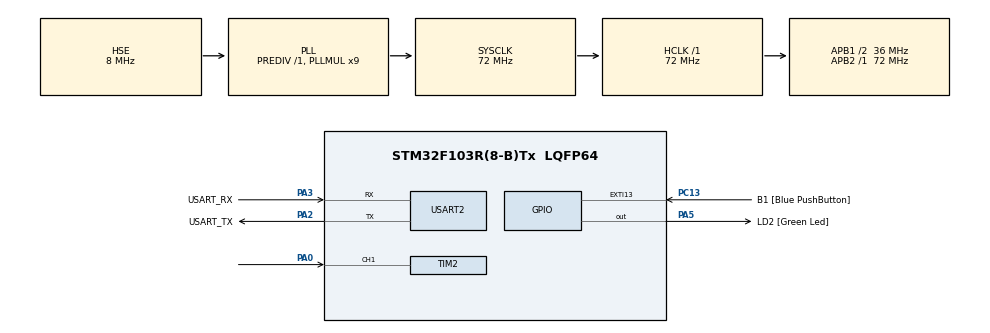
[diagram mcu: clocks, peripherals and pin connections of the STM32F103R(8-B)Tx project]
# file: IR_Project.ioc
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Mcu.Family=STM32F1
Mcu.Name=STM32F103R(8-B)Tx
Mcu.Package=LQFP64
NVIC.EXTI15_10_IRQn=true\:0\:0\:false\:false\:true\:true\:true\:true
NVIC.PriorityGroup=NVIC_PRIORITYGROUP_4
NVIC.TIM2_IRQn=true\:0\:0\:false\:false\:true\:true\:true\:true
PA0-WKUP.GPIO_PuPd=GPIO_PULLUP
PA0-WKUP.Signal=S_TIM2_CH1_ETR
PA13.GPIO_Label=TMS
PA13.Mode=Serial_Wire
PA13.Signal=SYS_JTMS-SWDIO
PA14.GPIO_Label=TCK
PA14.Mode=Serial_Wire
PA14.Signal=SYS_JTCK-SWCLK
PA2.GPIO_Label=USART_TX
PA2.GPIO_Mode=GPIO_MODE_AF_PP
PA2.GPIO_PuPd=GPIO_NOPULL
PA2.GPIO_Speed=GPIO_SPEED_FREQ_LOW
PA2.Mode=Asynchronous
PA2.Signal=USART2_TX
PA3.GPIO_Label=USART_RX
PA3.GPIO_Mode=GPIO_MODE_AF_PP
PA3.GPIO_PuPd=GPIO_NOPULL
PA3.GPIO_Speed=GPIO_SPEED_FREQ_LOW
PA3.Mode=Asynchronous
PA3.Signal=USART2_RX
PA5.GPIO_Label=LD2 [Green Led]
PA5.GPIO_ModeDefaultOutputPP=GPIO_MODE_OUTPUT_PP
PA5.GPIO_PuPd=GPIO_NOPULL
PA5.GPIO_Speed=GPIO_SPEED_FREQ_LOW
PA5.Signal=GPIO_Output
PB3.GPIO_Label=SWO
PB3.Signal=SYS_JTDO-TRACESWO
PC13-TAMPER-RTC.GPIO_Label=B1 [Blue PushButton]
PC13-TAMPER-RTC.GPIO_PuPd=GPIO_NOPULL
PC13-TAMPER-RTC.Signal=GPXTI13
PC14-OSC32_IN.Mode=LSE-External-Oscillator
PC14-OSC32_IN.Signal=RCC_OSC32_IN
PC15-OSC32_OUT.Mode=LSE-External-Oscillator
PC15-OSC32_OUT.Signal=RCC_OSC32_OUT
PD0-OSC_IN.Mode=HSE-External-Clock-Source
PD0-OSC_IN.Signal=RCC_OSC_IN
PD1-OSC_OUT.Mode=HSE-External-Clock-Source
PD1-OSC_OUT.Signal=RCC_OSC_OUT
ProjectManager.HeapSize=0x200
ProjectManager.StackSize=0x400
ProjectManager.TargetToolchain=STM32CubeIDE
RCC.AHBFreq_Value=72000000
RCC.APB1CLKDivider=RCC_HCLK_DIV2
RCC.APB1Freq_Value=36000000
RCC.APB1TimFreq_Value=72000000
RCC.APB2Freq_Value=72000000
RCC.APB2TimFreq_Value=72000000
RCC.HCLKFreq_Value=72000000
RCC.PLLMUL=RCC_PLL_MUL9
RCC.PLLSourceVirtual=RCC_PLLSOURCE_HSE
RCC.RTCClockSelection=RCC_RTCCLKSOURCE_LSE
RCC.SYSCLKFreq_VALUE=72000000
RCC.SYSCLKSource=RCC_SYSCLKSOURCE_PLLCLK
RCC.USBFreq_Value=72000000
SH.S_TIM2_CH1_ETR.0=TIM2_CH1,Input_Capture1_from_TI1
TIM2.Channel-Input_Capture1_from_TI1=TIM_CHANNEL_1
TIM2.ICPolarity_CH1=TIM_INPUTCHANNELPOLARITY_FALLING
TIM2.Prescaler=71
USART2.VirtualMode=VM_ASYNC
VP_TIM2_VS_ClockSourceINT.Mode=Internal
board=NUCLEO-F103RB

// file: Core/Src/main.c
/* USER CODE BEGIN Header */
/**
  ******************************************************************************
  * @file           : main.c
  * @brief          : Main program body
  ******************************************************************************
  * @attention
  *
  * Copyright (c) 2026 STMicroelectronics.
  * All rights reserved.
  *
  * This software is licensed under terms that can be found in the LICENSE file
  * in the root directory of this software component.
  * If no LICENSE file comes with this software, it is provided AS-IS.
  *
  ******************************************************************************
  */
/* USER CODE END Header */
#include "main.h"

/* USER CODE BEGIN Includes */
#include <stdio.h>
/* USER CODE END Includes */

TIM_HandleTypeDef htim2;

UART_HandleTypeDef huart2;

void SystemClock_Config(void);
static void MX_GPIO_Init(void);
static void MX_TIM2_Init(void);
static void MX_USART2_UART_Init(void);

/* USER CODE BEGIN 0 */
#ifdef __GNUC__
#define PUTCHAR_PROTOTYPE int __io_putchar(int ch)
#else
#define PUTCHAR_PROTOTYPE int fputc(int ch, FILE *f)
#endif

PUTCHAR_PROTOTYPE
{
  /* UART2�? 1바이?�� ?��?�� */
  HAL_UART_Transmit(&huart2, (uint8_t *)&ch, 1, 0xFFFF);
  return ch;
}

int _write(int file, char *ptr, int len)
{
  int DataIdx;
  for (DataIdx = 0; DataIdx < len; DataIdx++)
  {
    __io_putchar(*ptr++);
  }
  return len;
}

void HAL_TIM_IC_CaptureCallback(TIM_HandleTypeDef *tim)
{
	if(tim->Instance == TIM2)
	{
		uint32_t diff = HAL_TIM_ReadCapturedValue(tim, TIM_CHANNEL_1);
		__HAL_TIM_SET_COUNTER(tim, 0);

		printf("Pulse Width: %lu us\r\n", diff);
	}
}
/* USER CODE END 0 */

int main(void)
{

  /* MCU Configuration--------------------------------------------------------*/

  /* Reset of all peripherals, Initializes the Flash interface and the Systick. */
  HAL_Init();

  /* Configure the system clock */
  SystemClock_Config();

  /* Initialize all configured peripherals */
  MX_GPIO_Init();
  MX_TIM2_Init();
  MX_USART2_UART_Init();
  /* USER CODE BEGIN 2 */
  HAL_TIM_IC_Start_IT(&htim2, TIM_CHANNEL_1);
  printf("Hello World\n");
  /* USER CODE END 2 */

  /* Infinite loop */
  while (1)
  {

  }
}

void SystemClock_Config(void)
{
  RCC_OscInitTypeDef RCC_OscInitStruct = {0};
  RCC_ClkInitTypeDef RCC_ClkInitStruct = {0};

  /** Initializes the RCC Oscillators according to the specified parameters
  * in the RCC_OscInitTypeDef structure.
  */
  RCC_OscInitStruct.OscillatorType = RCC_OSCILLATORTYPE_HSE;
  RCC_OscInitStruct.HSEState = RCC_HSE_BYPASS;
  RCC_OscInitStruct.HSEPredivValue = RCC_HSE_PREDIV_DIV1;
  RCC_OscInitStruct.HSIState = RCC_HSI_ON;
  RCC_OscInitStruct.PLL.PLLState = RCC_PLL_ON;
  RCC_OscInitStruct.PLL.PLLSource = RCC_PLLSOURCE_HSE;
  RCC_OscInitStruct.PLL.PLLMUL = RCC_PLL_MUL9;
  if (HAL_RCC_OscConfig(&RCC_OscInitStruct) != HAL_OK)
  {
    Error_Handler();
  }

  /** Initializes the CPU, AHB and APB buses clocks
  */
  RCC_ClkInitStruct.ClockType = RCC_CLOCKTYPE_HCLK|RCC_CLOCKTYPE_SYSCLK
                              |RCC_CLOCKTYPE_PCLK1|RCC_CLOCKTYPE_PCLK2;
  RCC_ClkInitStruct.SYSCLKSource = RCC_SYSCLKSOURCE_PLLCLK;
  RCC_ClkInitStruct.AHBCLKDivider = RCC_SYSCLK_DIV1;
  RCC_ClkInitStruct.APB1CLKDivider = RCC_HCLK_DIV2;
  RCC_ClkInitStruct.APB2CLKDivider = RCC_HCLK_DIV1;

  if (HAL_RCC_ClockConfig(&RCC_ClkInitStruct, FLASH_LATENCY_2) != HAL_OK)
  {
    Error_Handler();
  }
}

static void MX_TIM2_Init(void)
{

  TIM_ClockConfigTypeDef sClockSourceConfig = {0};
  TIM_MasterConfigTypeDef sMasterConfig = {0};
  TIM_IC_InitTypeDef sConfigIC = {0};

  htim2.Instance = TIM2;
  htim2.Init.Prescaler = 71;
  htim2.Init.CounterMode = TIM_COUNTERMODE_UP;
  htim2.Init.Period = 65535;
  htim2.Init.ClockDivision = TIM_CLOCKDIVISION_DIV1;
  htim2.Init.AutoReloadPreload = TIM_AUTORELOAD_PRELOAD_DISABLE;
  if (HAL_TIM_Base_Init(&htim2) != HAL_OK)
  {
    Error_Handler();
  }
  sClockSourceConfig.ClockSource = TIM_CLOCKSOURCE_INTERNAL;
  if (HAL_TIM_ConfigClockSource(&htim2, &sClockSourceConfig) != HAL_OK)
  {
    Error_Handler();
  }
  if (HAL_TIM_IC_Init(&htim2) != HAL_OK)
  {
    Error_Handler();
  }
  sMasterConfig.MasterOutputTrigger = TIM_TRGO_RESET;
  sMasterConfig.MasterSlaveMode = TIM_MASTERSLAVEMODE_DISABLE;
  if (HAL_TIMEx_MasterConfigSynchronization(&htim2, &sMasterConfig) != HAL_OK)
  {
    Error_Handler();
  }
  sConfigIC.ICPolarity = TIM_INPUTCHANNELPOLARITY_FALLING;
  sConfigIC.ICSelection = TIM_ICSELECTION_DIRECTTI;
  sConfigIC.ICPrescaler = TIM_ICPSC_DIV1;
  sConfigIC.ICFilter = 0;
  if (HAL_TIM_IC_ConfigChannel(&htim2, &sConfigIC, TIM_CHANNEL_1) != HAL_OK)
  {
    Error_Handler();
  }

}

static void MX_USART2_UART_Init(void)
{

  huart2.Instance = USART2;
  huart2.Init.BaudRate = 115200;
  huart2.Init.WordLength = UART_WORDLENGTH_8B;
  huart2.Init.StopBits = UART_STOPBITS_1;
  huart2.Init.Parity = UART_PARITY_NONE;
  huart2.Init.Mode = UART_MODE_TX_RX;
  huart2.Init.HwFlowCtl = UART_HWCONTROL_NONE;
  huart2.Init.OverSampling = UART_OVERSAMPLING_16;
  if (HAL_UART_Init(&huart2) != HAL_OK)
  {
    Error_Handler();
  }

}

static void MX_GPIO_Init(void)
{
  GPIO_InitTypeDef GPIO_InitStruct = {0};

  /* GPIO Ports Clock Enable */
  __HAL_RCC_GPIOC_CLK_ENABLE();
  __HAL_RCC_GPIOD_CLK_ENABLE();
  __HAL_RCC_GPIOA_CLK_ENABLE();
  __HAL_RCC_GPIOB_CLK_ENABLE();

  /*Configure GPIO pin Output Level */
  HAL_GPIO_WritePin(LD2_GPIO_Port, LD2_Pin, GPIO_PIN_RESET);

  /*Configure GPIO pin : B1_Pin */
  GPIO_InitStruct.Pin = B1_Pin;
  GPIO_InitStruct.Mode = GPIO_MODE_IT_RISING;
  GPIO_InitStruct.Pull = GPIO_NOPULL;
  HAL_GPIO_Init(B1_GPIO_Port, &GPIO_InitStruct);

  /*Configure GPIO pin : LD2_Pin */
  GPIO_InitStruct.Pin = LD2_Pin;
  GPIO_InitStruct.Mode = GPIO_MODE_OUTPUT_PP;
  GPIO_InitStruct.Pull = GPIO_NOPULL;
  GPIO_InitStruct.Speed = GPIO_SPEED_FREQ_LOW;
  HAL_GPIO_Init(LD2_GPIO_Port, &GPIO_InitStruct);

  /* EXTI interrupt init*/
  HAL_NVIC_SetPriority(EXTI15_10_IRQn, 0, 0);
  HAL_NVIC_EnableIRQ(EXTI15_10_IRQn);

}

void Error_Handler(void)
{
  __disable_irq();
  while (1)
  {
  }
}
